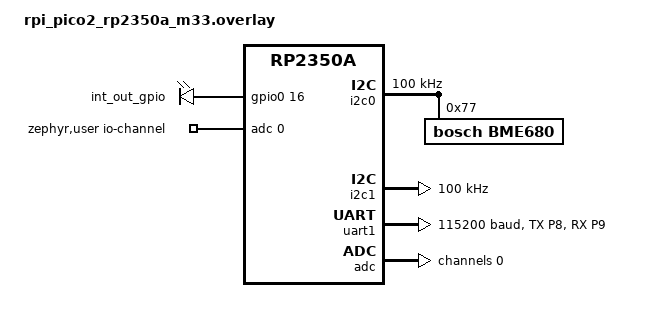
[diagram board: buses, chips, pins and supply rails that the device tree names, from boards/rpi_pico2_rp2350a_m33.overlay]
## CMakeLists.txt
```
cmake_minimum_required(VERSION 3.20.0)

find_package(Zephyr REQUIRED HINTS $ENV{ZEPHYR_BASE})
project(sensor_node)

target_sources(app PRIVATE 
    src/main.c
    src/i2c/i2c_target.c
    src/registers/register_map.c
    src/sensors/bme680/bme680.c
    src/sensors/mlx90614/mlx90614.c
    src/sensors/mmwave/mmwave.c
    src/sensors/spw2430/spw2430.c
)
```

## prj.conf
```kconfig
CONFIG_GPIO=y
CONFIG_I2C=y
CONFIG_SERIAL=y
CONFIG_UART_INTERRUPT_DRIVEN=y
CONFIG_ADC=y

CONFIG_PRINTK=y
CONFIG_CONSOLE=y
CONFIG_UART_CONSOLE=y

CONFIG_I2C_TARGET=y

CONFIG_FPU=y

CONFIG_MAIN_STACK_SIZE=2048
CONFIG_SYSTEM_WORKQUEUE_STACK_SIZE=2048
```

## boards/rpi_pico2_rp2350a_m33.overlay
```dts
#include <zephyr/dt-bindings/gpio/gpio.h>
#include <zephyr/dt-bindings/adc/adc.h>
#include <zephyr/dt-bindings/pinctrl/rpi-pico-rp2350a-pinctrl.h>

/ {
	aliases {
		int-out = &int_out_gpio;
	};

	gpio_outputs {
		compatible = "gpio-leds";
		int_out_gpio: int_out_gpio {
			gpios = <&gpio0 16 GPIO_ACTIVE_HIGH>;
		};
	};

	zephyr,user {
		io-channels = <&adc 0>;
	};
};

&pinctrl {
	i2c0_default: i2c0_default {
		group1 {
			pinmux = <I2C0_SDA_P4>, <I2C0_SCL_P5>;
			input-enable;
			input-schmitt-enable;
			bias-pull-up;
		};
	};

	i2c1_default: i2c1_default {
		group1 {
			pinmux = <I2C1_SDA_P6>, <I2C1_SCL_P7>;
			input-enable;
			input-schmitt-enable;
			bias-pull-up;
		};
	};

	uart1_default: uart1_default {
		group1 {
			pinmux = <UART1_TX_P8>;
		};
		group2 {
			pinmux = <UART1_RX_P9>;
			input-enable;
			bias-pull-up;
		};
	};
};

&i2c0 {
	status = "okay";
	pinctrl-0 = <&i2c0_default>;
	pinctrl-names = "default";
	clock-frequency = <100000>;

	bme680: bme680@77 {
		compatible = "bosch,bme680";
		reg = <0x77>;
		status = "okay";
	};
};

&i2c1 {
	status = "okay";
	pinctrl-0 = <&i2c1_default>;
	pinctrl-names = "default";
	clock-frequency = <100000>;
};

&uart1 {
	status = "okay";
	current-speed = <115200>;
	pinctrl-0 = <&uart1_default>;
	pinctrl-names = "default";
};

&adc {
	status = "okay";
	#address-cells = <1>;
	#size-cells = <0>;

	channel@0 {
		reg = <0>;
		zephyr,gain = "ADC_GAIN_1";
		zephyr,reference = "ADC_REF_VDD_1";
		zephyr,vref-mv = <3300>;
		zephyr,acquisition-time = <ADC_ACQ_TIME_DEFAULT>;
		zephyr,resolution = <12>;
	};
};
```

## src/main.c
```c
#include <zephyr/kernel.h>
#include <zephyr/sys/printk.h>
#include <zephyr/device.h>
#include <zephyr/devicetree.h>
#include <zephyr/drivers/gpio.h>

#include <stdbool.h>

#include "sensors/bme680/bme680.h"
#include "sensors/mlx90614/mlx90614.h"
#include "sensors/mmwave/mmwave.h"
#include "sensors/spw2430/spw2430.h"
#include "registers/register_map.h"
#include "i2c/i2c_target.h"

#define BME680_PERIOD_MS    2000
#define MLX_PERIOD_MS       500
#define MMWAVE_PERIOD_MS    500
#define MIC_PERIOD_MS       250
#define IRQ_POLL_MS         20

#define SENSOR_NODE_I2C_ADDR 0x42

#define STACK_SIZE          1536
#define PRIO_IRQ            3
#define PRIO_MIC            4
#define PRIO_MLX            5
#define PRIO_MMWAVE         6
#define PRIO_BME680         7

K_THREAD_STACK_DEFINE(bme680_stack, STACK_SIZE);
K_THREAD_STACK_DEFINE(mlx_stack,    STACK_SIZE);
K_THREAD_STACK_DEFINE(mmwave_stack, STACK_SIZE);
K_THREAD_STACK_DEFINE(mic_stack,    STACK_SIZE);
K_THREAD_STACK_DEFINE(irq_stack,    512);

static struct k_thread bme680_thread_data;
static struct k_thread mlx_thread_data;
static struct k_thread mmwave_thread_data;
static struct k_thread mic_thread_data;
static struct k_thread irq_thread_data;

K_MUTEX_DEFINE(i2c0_mutex);

#define INT_OUT_NODE DT_ALIAS(int_out)

static const struct gpio_dt_spec int_out = GPIO_DT_SPEC_GET_OR(INT_OUT_NODE, gpios, {0});

static bool int_out_ready = false;

// Debug print with timestamp and tag
#define DBG(tag, fmt, ...) \
    printk("[%6u ms][%s] " fmt "\n", k_uptime_get_32(), tag, ##__VA_ARGS__)


static void irq_pump_entry(void *p1, void *p2, void *p3)
{
    ARG_UNUSED(p1); ARG_UNUSED(p2); ARG_UNUSED(p3);

    uint8_t last_src = 0;

    while (1) {
        uint8_t status;
        uint8_t src;

        regmap_read(REG_STATUS, &status);
        regmap_read(REG_INT_SRC, &src);

        if (int_out_ready) {
            int want = (src != 0) ? 1 : 0;
            gpio_pin_set_dt(&int_out, want);
        }

        if (src != last_src) {
            DBG("irq", "INT_SRC=0x%02X status=0x%02X (obj=%d)",
                src, status, !!(src & INT_SRC_T_OBJ_HIGH));
            last_src = src;
        }

        k_msleep(IRQ_POLL_MS);
    }
}

static void irq_init(void)
{
    if (!device_is_ready(int_out.port)) {
        DBG("irq", "INT_OUT pin not available (skipping)");
        int_out_ready = false;
        return;
    }

    int ret = gpio_pin_configure_dt(&int_out, GPIO_OUTPUT_INACTIVE);
    if (ret < 0) {
        DBG("irq", "configure failed: %d", ret);
        int_out_ready = false;
        return;
    }

    int_out_ready = true;
    DBG("irq", "INT_OUT ready");
}


/* BME680 thread */
static void bme680_entry(void *p1, void *p2, void *p3)
{
    ARG_UNUSED(p1); ARG_UNUSED(p2); ARG_UNUSED(p3);

    struct bme680_sample s;

    k_mutex_lock(&i2c0_mutex, K_FOREVER);
    (void)bme680_read_all(&s);
    k_mutex_unlock(&i2c0_mutex);

    while (1) {
        uint8_t ctrl = regmap_get_ctrl();
        if (!(ctrl & CTRL_EN_BME680)) {
            k_msleep(BME680_PERIOD_MS);
            continue;
        }

        k_mutex_lock(&i2c0_mutex, K_FOREVER);
        int ret = bme680_read_all(&s);
        k_mutex_unlock(&i2c0_mutex);

        if (ret == 0) {
            regmap_publish_bme680(s.temperature_centi_c, s.humidity_milli_pct, s.gas_resistance_ohm, s.gas_valid);

            int t_whole = s.temperature_centi_c / 100;
            int t_frac  = s.temperature_centi_c % 100;
            if (t_frac < 0) t_frac = -t_frac;

            DBG("bme680", "T_air=%d.%02d C  RH=%u.%03u %%  Gas=%u ohm%s", t_whole, t_frac,
                (unsigned)(s.humidity_milli_pct / 1000), (unsigned)(s.humidity_milli_pct % 1000),
                (unsigned)s.gas_resistance_ohm, s.gas_valid ? "" : " (warming)");
        } else {
            DBG("bme680", "read failed: %d", ret);
        }

        k_msleep(BME680_PERIOD_MS);
    }
}


/* MLX90614 thread */
static void mlx_entry(void *p1, void *p2, void *p3)
{
    ARG_UNUSED(p1); ARG_UNUSED(p2); ARG_UNUSED(p3);

    while (1) {
        uint8_t ctrl = regmap_get_ctrl();
        if (!(ctrl & CTRL_EN_MLX90614)) {
            k_msleep(MLX_PERIOD_MS);
            continue;
        }

        struct mlx90614_sample s;

        k_mutex_lock(&i2c0_mutex, K_FOREVER);
        int ret = mlx90614_read(&s);
        k_mutex_unlock(&i2c0_mutex);

        if (ret == 0) {
            regmap_publish_mlx90614(s.ambient_centi_c, s.object_centi_c);

            int ow = s.object_centi_c / 100;
            int of = s.object_centi_c % 100;
            if (of < 0) of = -of;
            int aw = s.ambient_centi_c / 100;
            int af = s.ambient_centi_c % 100;
            if (af < 0) af = -af;

            DBG("mlx", "T_obj=%d.%02d C  T_amb=%d.%02d C", ow, of, aw, af);
        } else {
            DBG("mlx", "read failed: %d", ret);
        }

        k_msleep(MLX_PERIOD_MS);
    }
}

/* mmWave thread  */
static void mmwave_entry(void *p1, void *p2, void *p3)
{
    ARG_UNUSED(p1); ARG_UNUSED(p2); ARG_UNUSED(p3);

    bool last_occ = false;
    uint16_t last_range = 0;
    uint8_t last_gate = 0xFF;
    uint16_t last_absence = 0xFFFF;

    while (1) {
        uint8_t ctrl = regmap_get_ctrl();
        if (!(ctrl & CTRL_EN_MMWAVE)) {
            k_msleep(MMWAVE_PERIOD_MS);
            continue;
        }

        uint8_t gate;
        uint16_t absence;
        regmap_get_mmwave_config(&gate, &absence);

        if (gate != last_gate || absence != last_absence) {
            struct mmwave_config cfg = {
                .max_range_gate = gate,
                .absence_delay_s = absence,
            };

            int ret = mmwave_apply_config(&cfg);
            if (ret == 0) {
                DBG("mmwave", "config: max_gate=%u (~%u cm), absence=%us", cfg.max_range_gate,
                    (unsigned)(cfg.max_range_gate + 1) * 70, cfg.absence_delay_s);
                last_gate = gate;
                last_absence = absence;
            } else {
                DBG("mmwave", "config apply failed: %d", ret);
            }
        }

        struct mmwave_state st;
        if (mmwave_get_state(&st) == 0) {
            bool occ = mmwave_is_occupied(2000);
            regmap_publish_mmwave(occ, st.range_cm);

            // Only print on changes to avoid spamming the log with the fast updates
            if (occ != last_occ || st.range_cm != last_range) {
                DBG("mmwave", "occupied=%s range=%u cm", occ ? "yes" : "no", (unsigned)st.range_cm);
                last_occ   = occ;
                last_range = st.range_cm;
            }
        }

        k_msleep(MMWAVE_PERIOD_MS);
    }
}

/* Microphone thread */
static void mic_entry(void *p1, void *p2, void *p3)
{
    ARG_UNUSED(p1); ARG_UNUSED(p2); ARG_UNUSED(p3);

    int32_t peak = 0;
    int32_t rms  = 0;

    uint32_t last_print = 0;

    while (1) {
        uint8_t ctrl = regmap_get_ctrl();
        if (!(ctrl & CTRL_EN_MIC)) {
            k_msleep(MIC_PERIOD_MS);
            continue;
        }

        int ret = spw2430_read_level(SPW2430_DEFAULT_WINDOW_SAMPLES, &peak, &rms);
        if (ret == 0) {
            regmap_publish_mic(peak, rms, spw2430_get_baseline());

            uint32_t now = k_uptime_get_32();
            if (now - last_print >= 1000) {
                DBG("mic", "peak=%d rms=%d baseline=%d", (int)peak, (int)rms, (int)spw2430_get_baseline());
                last_print = now;
            }
        } else {
            DBG("mic", "read failed: %d", ret);
        }

        k_msleep(MIC_PERIOD_MS);
    }
}


int main(void)
{
    int ret;
    uint8_t enabled;
    bool bme680_ready = false;
    bool mlx_ready = false;
    bool mmwave_ready = false;
    bool mic_ready = false;

    printk("\n=== Sensor node starting (threaded) ===\n");

    regmap_init();
    enabled = regmap_get_ctrl();
    DBG("main", "register map ready (chip id 0x%02X)", CHIP_ID_VALUE);

    // --- BME680 ------------------------------------
    ret = bme680_init(320, 150);
    if (ret < 0) {
        DBG("main", "bme680_init failed: %d", ret);
        enabled &= (uint8_t)~CTRL_EN_BME680;
    } else {
        bme680_ready = true;
        DBG("main", "BME680 ready");
    }

    // --- MLX90614 ----------------------------------
    ret = mlx90614_init();
    if (ret < 0) {
        DBG("main", "mlx90614_init failed: %d", ret);
        enabled &= (uint8_t)~CTRL_EN_MLX90614;
    } else {
        mlx_ready = true;
        DBG("main", "MLX90614 ready");
    }

    // --- HMMD mmWave --------------------------------
    ret = mmwave_init();
    if (ret < 0) {
        DBG("main", "mmwave_init failed: %d", ret);
        enabled &= (uint8_t)~CTRL_EN_MMWAVE;
    } else {
        mmwave_ready = true;
        DBG("main", "HMMD mmWave ready");
    }

    // --- SPW2430 ------------------------------------
    ret = spw2430_init();
    if (ret < 0) {
        DBG("main", "spw2430_init failed: %d", ret);
        enabled &= (uint8_t)~CTRL_EN_MIC;
    } else {
        DBG("main", "SPW2430 ready, calibrating (%d samples)...", SPW2430_DEFAULT_CALIB_SAMPLES);

        ret = spw2430_calibrate(SPW2430_DEFAULT_CALIB_SAMPLES);
        if (ret < 0) {
            DBG("main", "spw2430 calibrate failed: %d", ret);
            enabled &= (uint8_t)~CTRL_EN_MIC;
        } else {
            mic_ready = true;
            DBG("main", "mic baseline = %d", (int)spw2430_get_baseline());
        }
    }

    regmap_write(REG_CTRL, enabled);

    ret = i2c_target_start(SENSOR_NODE_I2C_ADDR);
    if (ret < 0) {
        DBG("main", "i2c_target_start failed: %d", ret);
    }

    irq_init();

    if (bme680_ready) {
        k_thread_create(&bme680_thread_data, bme680_stack, STACK_SIZE,
                        bme680_entry, NULL, NULL, NULL,
                        PRIO_BME680, 0, K_NO_WAIT);
        k_thread_name_set(&bme680_thread_data, "bme680");
    }

    if (mlx_ready) {
        k_thread_create(&mlx_thread_data, mlx_stack, STACK_SIZE,
                        mlx_entry, NULL, NULL, NULL,
                        PRIO_MLX, 0, K_NO_WAIT);
        k_thread_name_set(&mlx_thread_data, "mlx90614");
    }

    if (mmwave_ready) {
        k_thread_create(&mmwave_thread_data, mmwave_stack, STACK_SIZE,
                        mmwave_entry, NULL, NULL, NULL,
                        PRIO_MMWAVE, 0, K_NO_WAIT);
        k_thread_name_set(&mmwave_thread_data, "mmwave");
    }

    if (mic_ready) {
        k_thread_create(&mic_thread_data, mic_stack, STACK_SIZE,
                        mic_entry, NULL, NULL, NULL,
                        PRIO_MIC, 0, K_NO_WAIT);
        k_thread_name_set(&mic_thread_data, "mic");
    }

    k_thread_create(&irq_thread_data, irq_stack, 512,
                    irq_pump_entry, NULL, NULL, NULL,
                    PRIO_IRQ, 0, K_NO_WAIT);
    k_thread_name_set(&irq_thread_data, "irq");

    DBG("main", "all threads launched");

    while (1) {
        k_sleep(K_FOREVER);
    }

    return 0;
}
```
